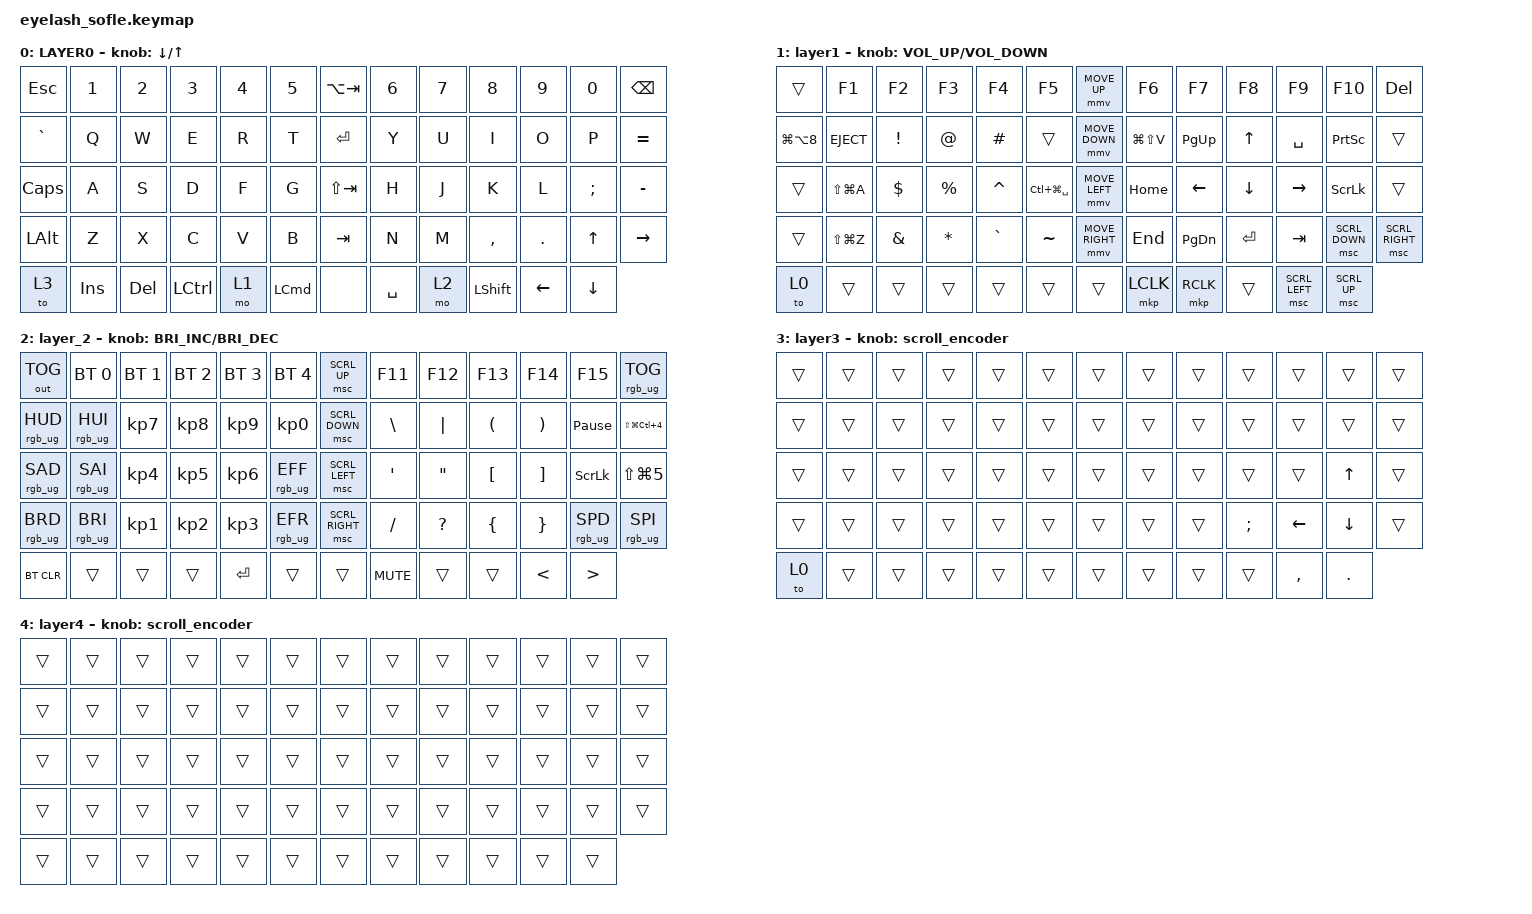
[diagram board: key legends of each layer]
#define ZMK_POINTING_DEFAULT_MOVE_VAL 1200  // 600
#define ZMK_POINTING_DEFAULT_SCRL_VAL 25   // 10

#include <input/processors.dtsi>
#include <zephyr/dt-bindings/input/input-event-codes.h>
#include <behaviors.dtsi>
#include <dt-bindings/zmk/bt.h>
#include <dt-bindings/zmk/keys.h>
#include <dt-bindings/zmk/outputs.h>
#include <dt-bindings/zmk/pointing.h>
#include <dt-bindings/zmk/rgb.h>

&mmv_input_listener { input-processors = <&zip_xy_scaler 2 1>; };

&msc_input_listener { input-processors = <&zip_scroll_scaler 2 1>; };

&msc {
    acceleration-exponent = <1>;      // 0
    time-to-max-speed-ms = <100>;       // 300
    delay-ms = <0>;                   // 0
};

&mmv {
    time-to-max-speed-ms = <500>;
    acceleration-exponent = <1>;
    trigger-period-ms = <16>;
};

&soft_off { hold-time-ms = <2000>; };

/ {
    scroll_encoder: scroll_encoder {
        compatible = "zmk,behavior-sensor-rotate";
        #sensor-binding-cells = <0>;
        bindings = <&msc SCRL_DOWN>, <&msc SCRL_UP>;

        tap-ms = <100>;
    };

    behaviors {
    };

    combos {
        compatible = "zmk,combos";

        softoff {
            bindings = <&soft_off>;
            key-positions = <14 28 40>;
        };
    };

    keymap {
        compatible = "zmk,keymap";

        layer0 {
            bindings = <
&kp ESC       &kp N1      &kp N2      &kp N3            &kp N4  &kp N5              &kp LA(TAB)  &kp N6     &kp N7  &kp N8          &kp N9    &kp N0    &kp BACKSPACE
&kp GRAVE     &kp Q       &kp W       &kp E             &kp R   &kp T               &kp ENTER    &kp Y      &kp U   &kp I           &kp O     &kp P     &kp EQUAL
&kp CAPS      &kp A       &kp S       &kp D             &kp F   &kp G               &kp LS(TAB)  &kp H      &kp J   &kp K           &kp L     &kp SEMI  &kp MINUS
&kp LEFT_ALT  &kp Z       &kp X       &kp C             &kp V   &kp B               &kp TAB      &kp N      &kp M   &kp COMMA       &kp DOT   &kp UP    &kp RIGHT
&to 3         &kp INSERT  &kp DELETE  &kp LEFT_CONTROL  &mo 1   &kp LEFT_COMMAND    &none        &kp SPACE  &mo 2   &kp LEFT_SHIFT  &kp LEFT  &kp DOWN
            >;

            sensor-bindings = <&inc_dec_kp DOWN UP>;
            display-name = "LAYER0";
        };

        layer_1 {
            bindings = <
&trans                &kp F1         &kp F2           &kp F3        &kp F4     &kp F5               &mmv MOVE_UP     &kp F6         &kp F7         &kp F8     &kp F9          &kp F10          &kp DELETE
&kp LG(LA(NUMBER_8))  &kp K_EJECT    &kp EXCLAMATION  &kp AT_SIGN   &kp HASH   &trans               &mmv MOVE_DOWN   &kp LG(LS(V))  &kp PG_UP      &kp UP     &kp SPACE       &kp PRINTSCREEN  &trans
&trans                &kp LS(LG(A))  &kp DOLLAR       &kp PERCENT   &kp CARET  &kp LC(LG(SPACE))    &mmv MOVE_LEFT   &kp HOME       &kp LEFT       &kp DOWN   &kp RIGHT       &kp SCROLLLOCK   &trans
&trans                &kp LS(LG(Z))  &kp AMPERSAND    &kp ASTERISK  &kp GRAVE  &kp TILDE            &mmv MOVE_RIGHT  &kp END        &kp PAGE_DOWN  &kp ENTER  &kp TAB         &msc SCRL_DOWN   &msc SCRL_RIGHT
&to 0                 &trans         &trans           &trans        &trans     &trans               &trans           &mkp LCLK      &mkp RCLK      &trans     &msc SCRL_LEFT  &msc SCRL_UP
            >;

            display-name = "layer1";
            sensor-bindings = <&inc_dec_kp C_VOLUME_UP C_VOLUME_DOWN>;
        };

        layer_2 {
            bindings = <
&out OUT_TOG     &bt BT_SEL 0     &bt BT_SEL 1     &bt BT_SEL 2     &bt BT_SEL 3     &bt BT_SEL 4       &msc SCRL_UP     &kp F11           &kp F12            &kp F13               &kp F14                &kp F15           &rgb_ug RGB_TOG
&rgb_ug RGB_HUD  &rgb_ug RGB_HUI  &kp KP_NUMBER_7  &kp KP_NUMBER_8  &kp KP_NUMBER_9  &kp KP_NUMBER_0    &msc SCRL_DOWN   &kp BACKSLASH     &kp PIPE           &kp LEFT_PARENTHESIS  &kp RIGHT_PARENTHESIS  &kp PAUSE_BREAK   &kp LS(LG(LC(NUMBER_4)))
&rgb_ug RGB_SAD  &rgb_ug RGB_SAI  &kp KP_NUMBER_4  &kp KP_NUMBER_5  &kp KP_NUMBER_6  &rgb_ug RGB_EFF    &msc SCRL_LEFT   &kp SINGLE_QUOTE  &kp DOUBLE_QUOTES  &kp LEFT_BRACKET      &kp RIGHT_BRACKET      &kp SCROLLLOCK    &kp LS(LG(N5))
&rgb_ug RGB_BRD  &rgb_ug RGB_BRI  &kp KP_NUMBER_1  &kp KP_NUMBER_2  &kp KP_NUMBER_3  &rgb_ug RGB_EFR    &msc SCRL_RIGHT  &kp SLASH         &kp QUESTION       &kp LEFT_BRACE        &kp RIGHT_BRACE        &rgb_ug RGB_SPD   &rgb_ug RGB_SPI
&bt BT_CLR       &trans           &trans           &trans           &kp ENTER        &trans             &trans           &kp K_MUTE        &trans             &trans                &kp LESS_THAN          &kp GREATER_THAN
            >;

            sensor-bindings = <&inc_dec_kp C_BRIGHTNESS_INC C_BRIGHTNESS_DEC>;
        };

        layer_3 {
            bindings = <
&trans  &trans  &trans  &trans  &trans  &trans    &trans  &trans  &trans  &trans         &trans     &trans      &trans
&trans  &trans  &trans  &trans  &trans  &trans    &trans  &trans  &trans  &trans         &trans     &trans      &trans
&trans  &trans  &trans  &trans  &trans  &trans    &trans  &trans  &trans  &trans         &trans     &kp UP      &trans
&trans  &trans  &trans  &trans  &trans  &trans    &trans  &trans  &trans  &kp SEMICOLON  &kp LEFT   &kp DOWN    &trans
&to 0   &trans  &trans  &trans  &trans  &trans    &trans  &trans  &trans  &trans         &kp COMMA  &kp PERIOD
            >;

            display-name = "layer3";
            sensor-bindings = <&scroll_encoder>;
        };

        layer_4 {
            bindings = <
&trans  &trans  &trans  &trans  &trans  &trans    &trans  &trans  &trans  &trans  &trans  &trans  &trans
&trans  &trans  &trans  &trans  &trans  &trans    &trans  &trans  &trans  &trans  &trans  &trans  &trans
&trans  &trans  &trans  &trans  &trans  &trans    &trans  &trans  &trans  &trans  &trans  &trans  &trans
&trans  &trans  &trans  &trans  &trans  &trans    &trans  &trans  &trans  &trans  &trans  &trans  &trans
&trans  &trans  &trans  &trans  &trans  &trans    &trans  &trans  &trans  &trans  &trans  &trans
            >;

            display-name = "layer4";
            sensor-bindings = <&scroll_encoder>;
        };
    };
};
